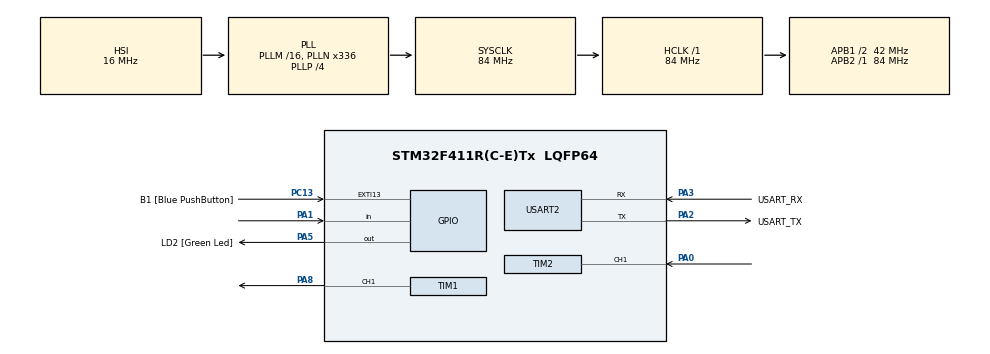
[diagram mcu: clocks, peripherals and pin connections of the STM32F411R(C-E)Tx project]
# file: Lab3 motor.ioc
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Dma.Request0=TIM2_CH1
Dma.TIM2_CH1.0.Direction=DMA_PERIPH_TO_MEMORY
Dma.TIM2_CH1.0.FIFOMode=DMA_FIFOMODE_DISABLE
Dma.TIM2_CH1.0.Instance=DMA1_Stream5
Dma.TIM2_CH1.0.MemDataAlignment=DMA_MDATAALIGN_WORD
Dma.TIM2_CH1.0.MemInc=DMA_MINC_ENABLE
Dma.TIM2_CH1.0.Mode=DMA_CIRCULAR
Dma.TIM2_CH1.0.PeriphDataAlignment=DMA_PDATAALIGN_WORD
Dma.TIM2_CH1.0.PeriphInc=DMA_PINC_DISABLE
Dma.TIM2_CH1.0.Priority=DMA_PRIORITY_LOW
Mcu.Family=STM32F4
Mcu.Name=STM32F411R(C-E)Tx
Mcu.Package=LQFP64
NVIC.DMA1_Stream5_IRQn=true\:0\:0\:false\:false\:true\:false\:true\:true
NVIC.PriorityGroup=NVIC_PRIORITYGROUP_0
PA0-WKUP.Signal=S_TIM2_CH1_ETR
PA1.Signal=GPIO_Input
PA13.GPIO_Label=TMS
PA13.Mode=Serial_Wire
PA13.Signal=SYS_JTMS-SWDIO
PA14.GPIO_Label=TCK
PA14.Mode=Serial_Wire
PA14.Signal=SYS_JTCK-SWCLK
PA2.GPIO_Label=USART_TX
PA2.Mode=Asynchronous
PA2.Signal=USART2_TX
PA3.GPIO_Label=USART_RX
PA3.Mode=Asynchronous
PA3.Signal=USART2_RX
PA5.GPIO_Label=LD2 [Green Led]
PA5.Signal=GPIO_Output
PA8.Signal=S_TIM1_CH1
PB3.GPIO_Label=SWO
PB3.Signal=SYS_JTDO-SWO
PC13-ANTI_TAMP.GPIO_Label=B1 [Blue PushButton]
PC13-ANTI_TAMP.GPIO_ModeDefaultEXTI=GPIO_MODE_IT_FALLING
PC13-ANTI_TAMP.Signal=GPXTI13
PC14-OSC32_IN.Mode=LSE-External-Oscillator
PC14-OSC32_IN.Signal=RCC_OSC32_IN
PC15-OSC32_OUT.Mode=LSE-External-Oscillator
PC15-OSC32_OUT.Signal=RCC_OSC32_OUT
PH0\ -\ OSC_IN.Mode=HSE-External-Clock-Source
PH0\ -\ OSC_IN.Signal=RCC_OSC_IN
PH1\ -\ OSC_OUT.Mode=HSE-External-Clock-Source
PH1\ -\ OSC_OUT.Signal=RCC_OSC_OUT
ProjectManager.HeapSize=0x200
ProjectManager.StackSize=0x400
ProjectManager.TargetToolchain=STM32CubeIDE
RCC.48MHZClocksFreq_Value=84000000
RCC.AHBFreq_Value=84000000
RCC.APB1CLKDivider=RCC_HCLK_DIV2
RCC.APB1Freq_Value=42000000
RCC.APB1TimFreq_Value=84000000
RCC.APB2Freq_Value=84000000
RCC.APB2TimFreq_Value=84000000
RCC.CortexFreq_Value=84000000
RCC.FLatency-AdvancedSettings=FLASH_LATENCY_2
RCC.HCLKFreq_Value=84000000
RCC.HSE_VALUE=8000000
RCC.HSI_VALUE=16000000
RCC.PLLN=336
RCC.PLLP=RCC_PLLP_DIV4
RCC.SYSCLKFreq_VALUE=84000000
RCC.SYSCLKSource=RCC_SYSCLKSOURCE_PLLCLK
RCC.VCOOutputFreq_Value=336000000
SH.S_TIM1_CH1.0=TIM1_CH1,PWM Generation1 CH1
SH.S_TIM2_CH1_ETR.0=TIM2_CH1,Input_Capture1_from_TI1
TIM1.Channel-PWM\ Generation1\ CH1=TIM_CHANNEL_1
TIM1.Period=100
TIM1.Prescaler=83
TIM1.Pulse-PWM\ Generation1\ CH1=100
TIM2.Channel-Input_Capture1_from_TI1=TIM_CHANNEL_1
TIM2.Prescaler=83
USART2.VirtualMode=VM_ASYNC
VP_TIM1_VS_ClockSourceINT.Mode=Internal
VP_TIM2_VS_ClockSourceINT.Mode=Internal
board=NUCLEO-F411RE

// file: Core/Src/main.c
/* USER CODE BEGIN Header */
/**
  ******************************************************************************
  * @file           : main.c
  * @brief          : Main program body
  ******************************************************************************
  * @attention
  *
  * Copyright (c) 2023 STMicroelectronics.
  * All rights reserved.
  *
  * This software is licensed under terms that can be found in the LICENSE file
  * in the root directory of this software component.
  * If no LICENSE file comes with this software, it is provided AS-IS.
  *
  ******************************************************************************
  */
/* USER CODE END Header */
#include "main.h"

/* USER CODE BEGIN Includes */
#define IC_BUFFER_SIZE 20
/* USER CODE END Includes */

TIM_HandleTypeDef htim1;
TIM_HandleTypeDef htim2;
DMA_HandleTypeDef hdma_tim2_ch1;

UART_HandleTypeDef huart2;

/* USER CODE BEGIN PV */
uint32_t InputCaptureBuffer[IC_BUFFER_SIZE];
float averageRisingedgePeriod;
float MotorSetDutyRPM;
float MotorSetDuty = 100;
float MotorReadRPM = 0;
float MotorSetRPM;
float PWM;
float RPM_Count;
int MotorControlEnable = 0;

/* USER CODE END PV */

void SystemClock_Config(void);
static void MX_GPIO_Init(void);
static void MX_DMA_Init(void);
static void MX_USART2_UART_Init(void);
static void MX_TIM1_Init(void);
static void MX_TIM2_Init(void);
/* USER CODE BEGIN PFP */
float IC_Calc_Period();
/* USER CODE END PFP */

int main(void)
{

  /* MCU Configuration--------------------------------------------------------*/

  /* Reset of all peripherals, Initializes the Flash interface and the Systick. */
  HAL_Init();

  /* Configure the system clock */
  SystemClock_Config();

  /* Initialize all configured peripherals */
  MX_GPIO_Init();
  MX_DMA_Init();
  MX_USART2_UART_Init();
  MX_TIM1_Init();
  MX_TIM2_Init();
  /* USER CODE BEGIN 2 */
  HAL_TIM_Base_Start(&htim2);
  HAL_TIM_IC_Start_DMA(&htim2, TIM_CHANNEL_1, InputCaptureBuffer, IC_BUFFER_SIZE);

  HAL_TIM_Base_Start(&htim1);
  HAL_TIM_PWM_Start(&htim1, TIM_CHANNEL_1);
  /* USER CODE END 2 */

  /* Infinite loop */
  while (1)
  {

    /* USER CODE BEGIN 3 */
	  static uint32_t timestamp = 0;
	  if(HAL_GetTick()>timestamp)
	  {
		  timestamp = HAL_GetTick()+500;
		  averageRisingedgePeriod = IC_Calc_Period();//Microsec
		  MotorReadRPM = 60/(64*12*averageRisingedgePeriod*0.000001);
		  if(MotorSetDuty > 100){MotorSetDuty = 100;}
		  if(MotorSetDuty < 0){MotorSetDuty = 0;}

		  switch(MotorControlEnable)
		  {
		  case 0:
			  __HAL_TIM_SET_COMPARE(&htim1,TIM_CHANNEL_1,MotorSetDuty);
			  PWM = MotorSetDuty;
			  break;
		  case 1:

			  if(MotorSetRPM >= MotorReadRPM)
			  {
				  __HAL_TIM_SET_COMPARE(&htim1,TIM_CHANNEL_1,PWM);
				  PWM +=1.5;
				  if(PWM > 100){PWM=100;}
			  }
			  if(MotorSetRPM <= MotorReadRPM)
			  {
				  __HAL_TIM_SET_COMPARE(&htim1,TIM_CHANNEL_1,PWM);
				  PWM -=1.5;
				  if(PWM < 0){PWM=0;}

			  }
			  break;
		  }
	  }
  }
  /* USER CODE END 3 */
}

void SystemClock_Config(void)
{
  RCC_OscInitTypeDef RCC_OscInitStruct = {0};
  RCC_ClkInitTypeDef RCC_ClkInitStruct = {0};

  /** Configure the main internal regulator output voltage
  */
  __HAL_RCC_PWR_CLK_ENABLE();
  __HAL_PWR_VOLTAGESCALING_CONFIG(PWR_REGULATOR_VOLTAGE_SCALE1);

  /** Initializes the RCC Oscillators according to the specified parameters
  * in the RCC_OscInitTypeDef structure.
  */
  RCC_OscInitStruct.OscillatorType = RCC_OSCILLATORTYPE_HSI;
  RCC_OscInitStruct.HSIState = RCC_HSI_ON;
  RCC_OscInitStruct.HSICalibrationValue = RCC_HSICALIBRATION_DEFAULT;
  RCC_OscInitStruct.PLL.PLLState = RCC_PLL_ON;
  RCC_OscInitStruct.PLL.PLLSource = RCC_PLLSOURCE_HSI;
  RCC_OscInitStruct.PLL.PLLM = 16;
  RCC_OscInitStruct.PLL.PLLN = 336;
  RCC_OscInitStruct.PLL.PLLP = RCC_PLLP_DIV4;
  RCC_OscInitStruct.PLL.PLLQ = 4;
  if (HAL_RCC_OscConfig(&RCC_OscInitStruct) != HAL_OK)
  {
    Error_Handler();
  }

  /** Initializes the CPU, AHB and APB buses clocks
  */
  RCC_ClkInitStruct.ClockType = RCC_CLOCKTYPE_HCLK|RCC_CLOCKTYPE_SYSCLK
                              |RCC_CLOCKTYPE_PCLK1|RCC_CLOCKTYPE_PCLK2;
  RCC_ClkInitStruct.SYSCLKSource = RCC_SYSCLKSOURCE_PLLCLK;
  RCC_ClkInitStruct.AHBCLKDivider = RCC_SYSCLK_DIV1;
  RCC_ClkInitStruct.APB1CLKDivider = RCC_HCLK_DIV2;
  RCC_ClkInitStruct.APB2CLKDivider = RCC_HCLK_DIV1;

  if (HAL_RCC_ClockConfig(&RCC_ClkInitStruct, FLASH_LATENCY_2) != HAL_OK)
  {
    Error_Handler();
  }
}

static void MX_TIM1_Init(void)
{

  TIM_ClockConfigTypeDef sClockSourceConfig = {0};
  TIM_MasterConfigTypeDef sMasterConfig = {0};
  TIM_OC_InitTypeDef sConfigOC = {0};
  TIM_BreakDeadTimeConfigTypeDef sBreakDeadTimeConfig = {0};

  htim1.Instance = TIM1;
  htim1.Init.Prescaler = 83;
  htim1.Init.CounterMode = TIM_COUNTERMODE_UP;
  htim1.Init.Period = 100;
  htim1.Init.ClockDivision = TIM_CLOCKDIVISION_DIV1;
  htim1.Init.RepetitionCounter = 0;
  htim1.Init.AutoReloadPreload = TIM_AUTORELOAD_PRELOAD_DISABLE;
  if (HAL_TIM_Base_Init(&htim1) != HAL_OK)
  {
    Error_Handler();
  }
  sClockSourceConfig.ClockSource = TIM_CLOCKSOURCE_INTERNAL;
  if (HAL_TIM_ConfigClockSource(&htim1, &sClockSourceConfig) != HAL_OK)
  {
    Error_Handler();
  }
  if (HAL_TIM_PWM_Init(&htim1) != HAL_OK)
  {
    Error_Handler();
  }
  sMasterConfig.MasterOutputTrigger = TIM_TRGO_RESET;
  sMasterConfig.MasterSlaveMode = TIM_MASTERSLAVEMODE_DISABLE;
  if (HAL_TIMEx_MasterConfigSynchronization(&htim1, &sMasterConfig) != HAL_OK)
  {
    Error_Handler();
  }
  sConfigOC.OCMode = TIM_OCMODE_PWM1;
  sConfigOC.Pulse = 100;
  sConfigOC.OCPolarity = TIM_OCPOLARITY_HIGH;
  sConfigOC.OCNPolarity = TIM_OCNPOLARITY_HIGH;
  sConfigOC.OCFastMode = TIM_OCFAST_DISABLE;
  sConfigOC.OCIdleState = TIM_OCIDLESTATE_RESET;
  sConfigOC.OCNIdleState = TIM_OCNIDLESTATE_RESET;
  if (HAL_TIM_PWM_ConfigChannel(&htim1, &sConfigOC, TIM_CHANNEL_1) != HAL_OK)
  {
    Error_Handler();
  }
  sBreakDeadTimeConfig.OffStateRunMode = TIM_OSSR_DISABLE;
  sBreakDeadTimeConfig.OffStateIDLEMode = TIM_OSSI_DISABLE;
  sBreakDeadTimeConfig.LockLevel = TIM_LOCKLEVEL_OFF;
  sBreakDeadTimeConfig.DeadTime = 0;
  sBreakDeadTimeConfig.BreakState = TIM_BREAK_DISABLE;
  sBreakDeadTimeConfig.BreakPolarity = TIM_BREAKPOLARITY_HIGH;
  sBreakDeadTimeConfig.AutomaticOutput = TIM_AUTOMATICOUTPUT_DISABLE;
  if (HAL_TIMEx_ConfigBreakDeadTime(&htim1, &sBreakDeadTimeConfig) != HAL_OK)
  {
    Error_Handler();
  }
  HAL_TIM_MspPostInit(&htim1);

}

static void MX_TIM2_Init(void)
{

  TIM_ClockConfigTypeDef sClockSourceConfig = {0};
  TIM_MasterConfigTypeDef sMasterConfig = {0};
  TIM_IC_InitTypeDef sConfigIC = {0};

  htim2.Instance = TIM2;
  htim2.Init.Prescaler = 83;
  htim2.Init.CounterMode = TIM_COUNTERMODE_UP;
  htim2.Init.Period = 4294967295;
  htim2.Init.ClockDivision = TIM_CLOCKDIVISION_DIV1;
  htim2.Init.AutoReloadPreload = TIM_AUTORELOAD_PRELOAD_DISABLE;
  if (HAL_TIM_Base_Init(&htim2) != HAL_OK)
  {
    Error_Handler();
  }
  sClockSourceConfig.ClockSource = TIM_CLOCKSOURCE_INTERNAL;
  if (HAL_TIM_ConfigClockSource(&htim2, &sClockSourceConfig) != HAL_OK)
  {
    Error_Handler();
  }
  if (HAL_TIM_IC_Init(&htim2) != HAL_OK)
  {
    Error_Handler();
  }
  sMasterConfig.MasterOutputTrigger = TIM_TRGO_RESET;
  sMasterConfig.MasterSlaveMode = TIM_MASTERSLAVEMODE_DISABLE;
  if (HAL_TIMEx_MasterConfigSynchronization(&htim2, &sMasterConfig) != HAL_OK)
  {
    Error_Handler();
  }
  sConfigIC.ICPolarity = TIM_INPUTCHANNELPOLARITY_RISING;
  sConfigIC.ICSelection = TIM_ICSELECTION_DIRECTTI;
  sConfigIC.ICPrescaler = TIM_ICPSC_DIV1;
  sConfigIC.ICFilter = 0;
  if (HAL_TIM_IC_ConfigChannel(&htim2, &sConfigIC, TIM_CHANNEL_1) != HAL_OK)
  {
    Error_Handler();
  }

}

static void MX_USART2_UART_Init(void)
{

  huart2.Instance = USART2;
  huart2.Init.BaudRate = 115200;
  huart2.Init.WordLength = UART_WORDLENGTH_8B;
  huart2.Init.StopBits = UART_STOPBITS_1;
  huart2.Init.Parity = UART_PARITY_NONE;
  huart2.Init.Mode = UART_MODE_TX_RX;
  huart2.Init.HwFlowCtl = UART_HWCONTROL_NONE;
  huart2.Init.OverSampling = UART_OVERSAMPLING_16;
  if (HAL_UART_Init(&huart2) != HAL_OK)
  {
    Error_Handler();
  }

}

static void MX_DMA_Init(void)
{

  /* DMA controller clock enable */
  __HAL_RCC_DMA1_CLK_ENABLE();

  /* DMA interrupt init */
  /* DMA1_Stream5_IRQn interrupt configuration */
  HAL_NVIC_SetPriority(DMA1_Stream5_IRQn, 0, 0);
  HAL_NVIC_EnableIRQ(DMA1_Stream5_IRQn);

}

static void MX_GPIO_Init(void)
{
  GPIO_InitTypeDef GPIO_InitStruct = {0};

  /* GPIO Ports Clock Enable */
  __HAL_RCC_GPIOC_CLK_ENABLE();
  __HAL_RCC_GPIOH_CLK_ENABLE();
  __HAL_RCC_GPIOA_CLK_ENABLE();
  __HAL_RCC_GPIOB_CLK_ENABLE();

  /*Configure GPIO pin Output Level */
  HAL_GPIO_WritePin(LD2_GPIO_Port, LD2_Pin, GPIO_PIN_RESET);

  /*Configure GPIO pin : B1_Pin */
  GPIO_InitStruct.Pin = B1_Pin;
  GPIO_InitStruct.Mode = GPIO_MODE_IT_FALLING;
  GPIO_InitStruct.Pull = GPIO_NOPULL;
  HAL_GPIO_Init(B1_GPIO_Port, &GPIO_InitStruct);

  /*Configure GPIO pin : PA1 */
  GPIO_InitStruct.Pin = GPIO_PIN_1;
  GPIO_InitStruct.Mode = GPIO_MODE_INPUT;
  GPIO_InitStruct.Pull = GPIO_NOPULL;
  HAL_GPIO_Init(GPIOA, &GPIO_InitStruct);

  /*Configure GPIO pin : LD2_Pin */
  GPIO_InitStruct.Pin = LD2_Pin;
  GPIO_InitStruct.Mode = GPIO_MODE_OUTPUT_PP;
  GPIO_InitStruct.Pull = GPIO_NOPULL;
  GPIO_InitStruct.Speed = GPIO_SPEED_FREQ_LOW;
  HAL_GPIO_Init(LD2_GPIO_Port, &GPIO_InitStruct);

}

/* USER CODE BEGIN 4 */
float IC_Calc_Period()
{
	uint32_t currentDMAPointer = IC_BUFFER_SIZE - __HAL_DMA_GET_COUNTER((htim2.hdma[1]));

	uint32_t lastVaildDMAPointer = (currentDMAPointer-1 + IC_BUFFER_SIZE) % IC_BUFFER_SIZE;

	uint32_t i = (lastVaildDMAPointer + IC_BUFFER_SIZE - 5) % IC_BUFFER_SIZE;

	int32_t sumdiff = 0;
	while(i != lastVaildDMAPointer)
	{
		uint32_t firstCapture = InputCaptureBuffer[i];

		uint32_t NextCapture = InputCaptureBuffer[(i+1)%IC_BUFFER_SIZE];
		sumdiff += NextCapture - firstCapture;
		i = (i+1) % IC_BUFFER_SIZE;
	}
	return sumdiff /5.0;
}

/* USER CODE END 4 */

void Error_Handler(void)
{
  __disable_irq();
  while (1)
  {
  }
}
